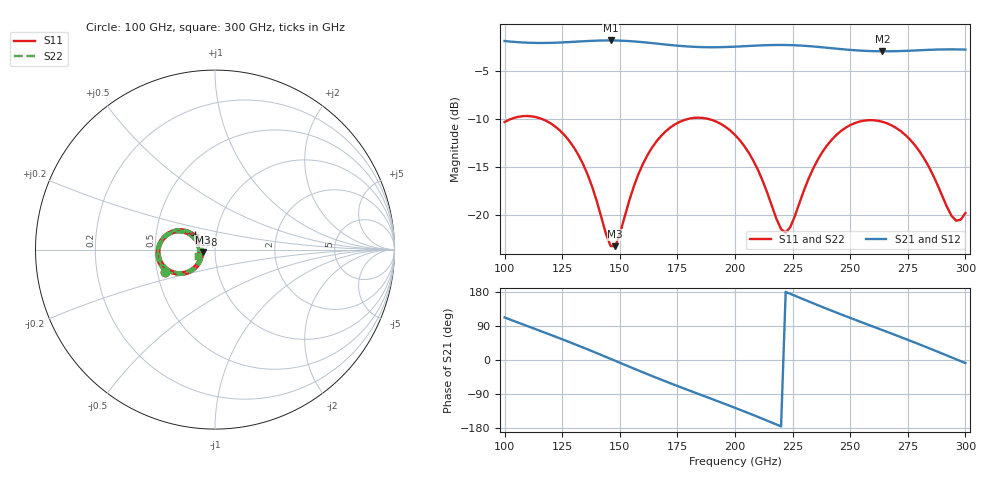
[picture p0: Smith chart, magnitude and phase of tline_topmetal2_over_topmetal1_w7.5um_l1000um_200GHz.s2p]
#  GHZ S DB R 50
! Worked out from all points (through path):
!   101 points, 100 GHz to 300 GHz, reference 50 ohm
!   highest |S21| = -1.87 dB at 146 GHz (marker M1); lowest = -3.0 dB at 264 GHz (marker M2)
!   group delay of S21, straight-line fit = 6.69 ps
!   lowest |S11| = -23.3 dB at 148 GHz (marker M3), VSWR 1.15, Z = 43.7 - j1.4 ohm
!   |S11| at or under -10 dB: start of sweep to 103.2 GHz; 115.8 GHz to 180.2 GHz (64.34 GHz wide, 43.5 % of centre); 187.9 GHz to end of sweep
!   |S22| runs from -23.3 to -9.7 dB; largest |S21 - S12| = 9.1e-14
!   S11 on the Smith chart (normalised r, x): 100 GHz: 0.55, -0.15; 138 GHz: 0.79, +0.13; 300 GHz: 0.82, -0.06
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100  -10.35 -156.1  -1.93 112.3  -1.93 112.3  -10.34 -156.1
108  -9.74 -171.5  -2.08 93.8  -2.08 93.8  -9.73 -171.4
118  -10.22 169.8  -2.13 71.0  -2.13 71.0  -10.21 169.8
134  -14.70 144.9  -1.95 33.1  -1.95 33.1  -14.68 145.0
138  -17.08 143.3  -1.91 23.2  -1.91 23.2  -17.06 143.3
146  -23.25 174.4  -1.87 3.0  -1.87 3.0  -23.24 174.2
148  -23.26 -166.6  -1.87 -2.1  -1.87 -2.1  -23.27 -166.8
158  -15.82 -135.5  -2.00 -27.4  -2.00 -27.4  -15.83 -135.4
168  -11.78 -147.6  -2.24 -51.9  -2.24 -51.9  -11.78 -147.5
176  -10.33 -161.3  -2.43 -70.8  -2.43 -70.8  -10.34 -161.2
184  -9.90 -175.5  -2.55 -89.3  -2.55 -89.3  -9.90 -175.4
200  -11.69 157.7  -2.51 -126.2  -2.51 -126.2  -11.69 157.7
212  -16.46 147.0  -2.37 -155.2  -2.37 -155.2  -16.46 147.0
222  -21.84 -175.1  -2.34 179.7  -2.34 179.7  -21.89 -175.0
234  -15.15 -141.1  -2.49 149.5  -2.49 149.5  -15.17 -140.8
248  -10.95 -158.3  -2.81 115.8  -2.81 115.8  -10.95 -158.0
264  -10.33 175.5  -3.00 78.9  -3.00 78.9  -10.32 175.7
268  -10.70 169.1  -2.99 69.6  -2.99 69.6  -10.70 169.3
278  -12.74 155.2  -2.91 46.2  -2.91 46.2  -12.72 155.5
286  -15.90 150.6  -2.83 26.8  -2.83 26.8  -15.87 150.9
294  -20.11 168.5  -2.79 6.9  -2.79 6.9  -20.05 168.6
300  -19.82 -159.6  -2.82 -8.2  -2.82 -8.2  -19.78 -159.8
